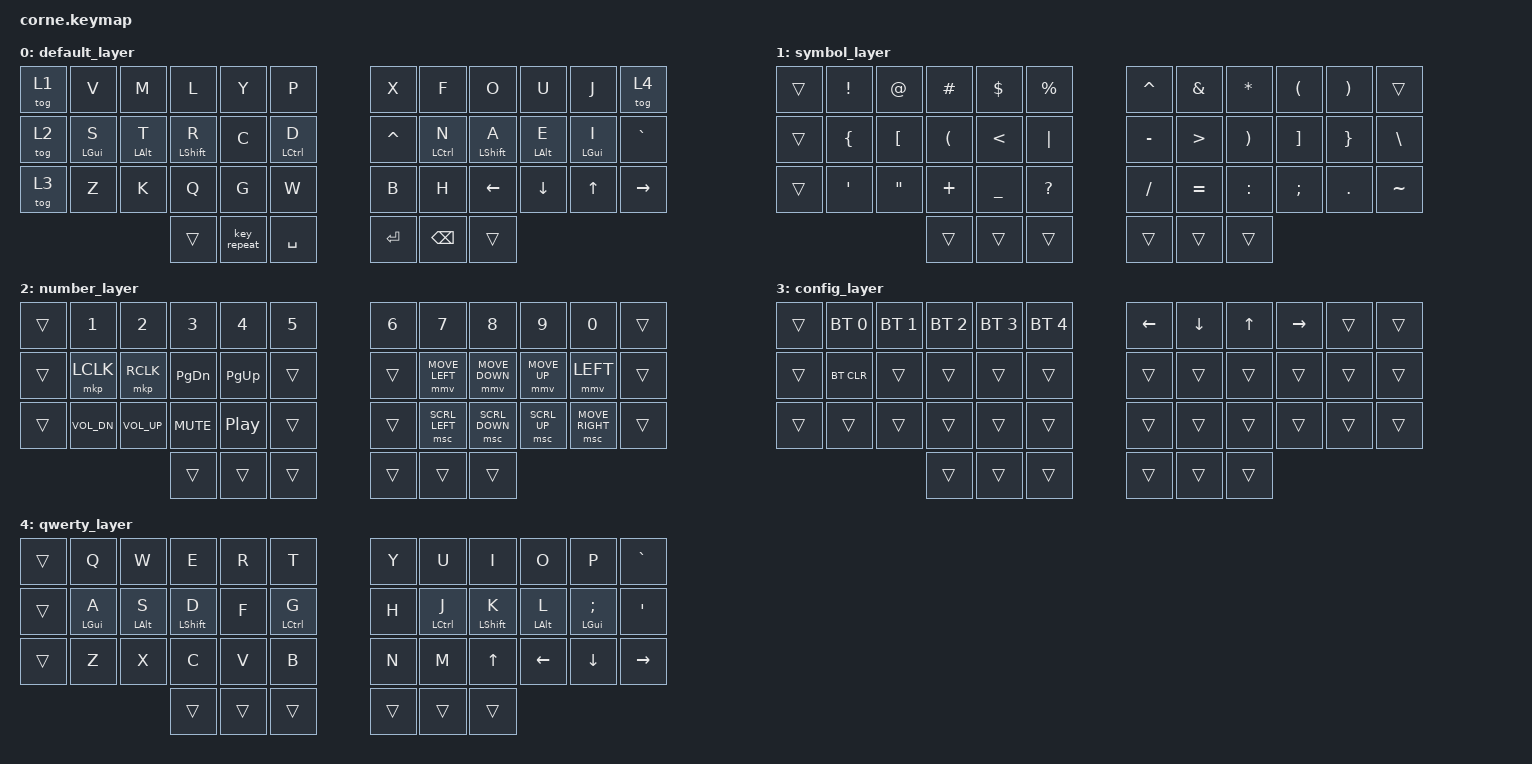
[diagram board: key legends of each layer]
/*
 * Copyright (c) 2020 The ZMK Contributors
 *
 * SPDX-License-Identifier: MIT
 */

#define ZMK_POINTING_DEFAULT_MOVE_VAL 1500  // default: 600
#define ZMK_POINTING_DEFAULT_SCRL_VAL 20    // default: 10

#include <dt-bindings/zmk/mouse.h>
#include <behaviors.dtsi>
#include <dt-bindings/zmk/bt.h>
#include <dt-bindings/zmk/keys.h>
#include <dt-bindings/zmk/pointing.h>

&mt {
    flavor = "tap-preferred";
    tapping_term_ms = <200>;
};

/ {
    combos {
        compatible = "zmk,combos";

        cesc {
            timeout-ms = <50>;
            key-positions = <16 15>;
            bindings = <&kp ESC>;
        };

        ctab {
            timeout-ms = <50>;
            key-positions = <14 13>;
            bindings = <&kp TAB>;
        };

        ccaps {
            timeout-ms = <50>;
            key-positions = <14 15>;
            bindings = <&kp CAPS>;
            layers = <0>;
        };

        ccopy {
            timeout-ms = <50>;
            key-positions = <2 3>;
            bindings = <&kp LC(C)>;
        };

        cpaste {
            timeout-ms = <50>;
            key-positions = <4 3>;
            bindings = <&kp LC(V)>;
        };

        ccut {
            timeout-ms = <50>;
            key-positions = <6 7>;
            bindings = <&kp LC(X)>;
        };

        cundo {
            timeout-ms = <50>;
            key-positions = <25 26>;
            bindings = <&kp LC(Z)>;
        };

        credo {
            timeout-ms = <50>;
            key-positions = <27 28>;
            bindings = <&kp LC(LS(Z))>;
        };

        ccomma {
            timeout-ms = <50>;
            key-positions = <7 8>;
            bindings = <&kp COMMA>;
        };

        cbacktick {
            timeout-ms = <50>;
            key-positions = <8 9>;
            bindings = <&kp GRAVE>;
        };

        cquotes {
            timeout-ms = <50>;
            key-positions = <9 10>;
            bindings = <&kp SQT>;
        };
    };

    keymap {
        compatible = "zmk,keymap";

        default_layer {
            bindings = <
&tog 1  &kp V       &kp M       &kp L        &kp Y        &kp P          &kp X      &kp F        &kp O        &kp U       &kp J       &tog 4
&tog 2  &mt LGUI S  &mt LALT T  &mt LSHFT R  &kp C        &mt LCTRL D    &kp CARET  &mt LCTRL N  &mt LSHFT A  &mt LALT E  &mt LGUI I  &kp GRAVE
&tog 3  &kp Z       &kp K       &kp Q        &kp G        &kp W          &kp B      &kp H        &kp LEFT     &kp DOWN    &kp UP      &kp RIGHT
                                &trans       &key_repeat  &kp SPACE      &kp RET    &kp BSPC     &trans
            >;
        };

        symbol_layer {
            bindings = <
&trans  &kp EXCL  &kp AT    &kp HASH  &kp DLLR   &kp PRCNT    &kp CARET  &kp AMPS   &kp ASTRK  &kp LPAR  &kp RPAR  &trans
&trans  &kp LBRC  &kp LBKT  &kp LPAR  &kp LT     &kp PIPE     &kp MINUS  &kp GT     &kp RPAR   &kp RBKT  &kp RBRC  &kp BSLH
&trans  &kp SQT   &kp DQT   &kp PLUS  &kp UNDER  &kp QMARK    &kp FSLH   &kp EQUAL  &kp COLON  &kp SEMI  &kp DOT   &kp TILDE
                            &trans    &trans     &trans       &trans     &trans     &trans
            >;
        };

        number_layer {
            bindings = <
&trans  &kp N1        &kp N2        &kp N3      &kp N4     &kp N5    &kp N6  &kp N7          &kp N8          &kp N9        &kp N0           &trans
&trans  &mkp LCLK     &mkp RCLK     &kp PG_DN   &kp PG_UP  &trans    &trans  &mmv MOVE_LEFT  &mmv MOVE_DOWN  &mmv MOVE_UP  &mmv LEFT        &trans
&trans  &kp C_VOL_DN  &kp C_VOL_UP  &kp C_MUTE  &kp C_PP   &trans    &trans  &msc SCRL_LEFT  &msc SCRL_DOWN  &msc SCRL_UP  &msc MOVE_RIGHT  &trans
                                    &trans      &trans     &trans    &trans  &trans          &trans
            >;
        };

        config_layer {
            bindings = <
&trans  &bt BT_SEL 0  &bt BT_SEL 1  &bt BT_SEL 2  &bt BT_SEL 3  &bt BT_SEL 4    &kp LEFT  &kp DOWN  &kp UP  &kp RIGHT  &trans  &trans
&trans  &bt BT_CLR    &trans        &trans        &trans        &trans          &trans    &trans    &trans  &trans     &trans  &trans
&trans  &trans        &trans        &trans        &trans        &trans          &trans    &trans    &trans  &trans     &trans  &trans
                                    &trans        &trans        &trans          &trans    &trans    &trans
            >;
        };

        qwerty_layer {
            bindings = <
&trans  &kp Q       &kp W       &kp E        &kp R   &kp T          &kp Y   &kp U        &kp I        &kp O       &kp P               &kp GRAVE
&trans  &mt LGUI A  &mt LALT S  &mt LSHFT D  &kp F   &mt LCTRL G    &kp H   &mt LCTRL J  &mt LSHFT K  &mt LALT L  &mt LGUI SEMICOLON  &kp SINGLE_QUOTE
&trans  &kp Z       &kp X       &kp C        &kp V   &kp B          &kp N   &kp M        &kp UP       &kp LEFT    &kp DOWN            &kp RIGHT
                                &trans       &trans  &trans         &trans  &trans       &trans
            >;
        };
    };
};
